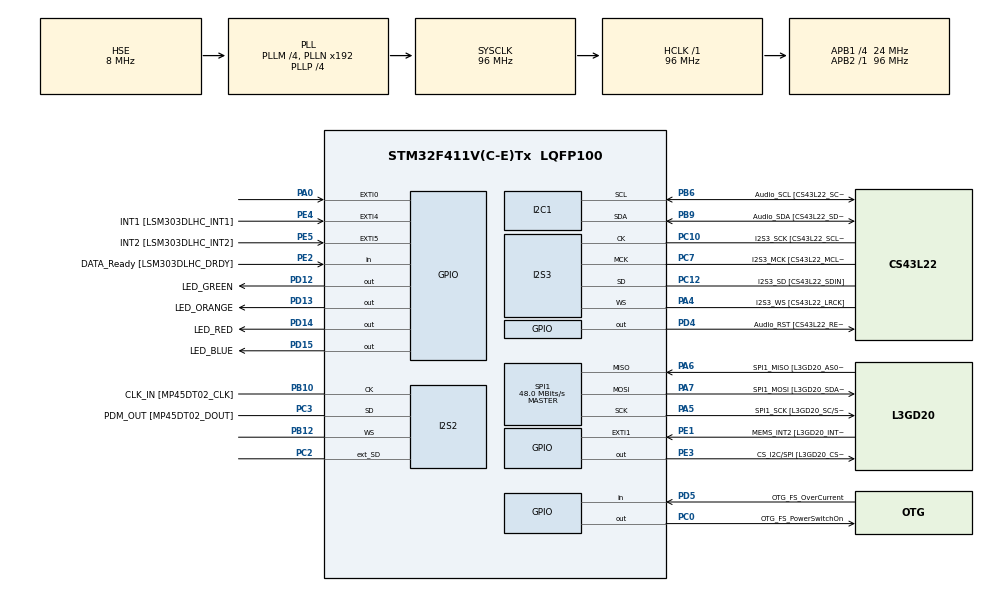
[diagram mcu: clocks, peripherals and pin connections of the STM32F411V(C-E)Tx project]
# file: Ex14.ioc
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FREERTOS.BinarySemaphores01=CriticalResourceSemaphore,Dynamic,NULL
FREERTOS.INCLUDE_vTaskDelayUntil=1
FREERTOS.Mutexes01=CriticalResourceMutex,Dynamic,NULL
FREERTOS.Tasks01=FlashGreenLed,0,128,StartFlashGreenLedTask,Default,NULL,Dynamic,NULL,NULL;FlashRedLed,0,128,StartFlashRedLedTask,Default,NULL,Dynamic,NULL,NULL;FlashBlueLed,0,128,StartFlashBlueLedTask,Default,NULL,Dynamic,NULL,NULL
FREERTOS.configUSE_NEWLIB_REENTRANT=1
I2S2.AudioFreq=I2S_AUDIOFREQ_96K
I2S2.ErrorAudioFreq=0.15 %
I2S2.FullDuplexMode=I2S_FULLDUPLEXMODE_ENABLE
I2S2.Instance=SPI$Index
I2S2.RealAudioFreq=96.153 KHz
I2S2.VirtualMode=I2S_MODE_MASTER
I2S3.AudioFreq=I2S_AUDIOFREQ_96K
I2S3.ErrorAudioFreq=-6.99 %
I2S3.FullDuplexMode=I2S_FULLDUPLEXMODE_DISABLE
I2S3.Instance=SPI$Index
I2S3.RealAudioFreq=89.285 KHz
I2S3.VirtualMode=I2S_MODE_MASTER
Mcu.Family=STM32F4
Mcu.Name=STM32F411V(C-E)Tx
Mcu.Package=LQFP100
NVIC.PriorityGroup=NVIC_PRIORITYGROUP_4
NVIC.TIM1_UP_TIM10_IRQn=true\:15\:0\:false\:false\:true\:false\:false\:true\:true
NVIC.TimeBase=TIM1_UP_TIM10_IRQn
NVIC.TimeBaseIP=TIM1
PA0-WKUP.GPIO_ModeDefaultEXTI=GPIO_MODE_EVT_RISING
PA0-WKUP.Signal=GPXTI0
PA10.GPIO_Label=OTG_FS_ID
PA10.Signal=USB_OTG_FS_ID
PA11.GPIO_Label=OTG_FS_DM
PA11.Signal=USB_OTG_FS_DM
PA12.GPIO_Label=OTG_FS_DP
PA12.Signal=USB_OTG_FS_DP
PA13.GPIO_Label=SWDIO
PA13.Mode=Serial_Wire
PA13.Signal=SYS_JTMS-SWDIO
PA14.GPIO_Label=SWCLK
PA14.Mode=Serial_Wire
PA14.Signal=SYS_JTCK-SWCLK
PA4.GPIO_Label=I2S3_WS [CS43L22_LRCK]
PA4.GPIO_Mode=GPIO_MODE_AF_PP
PA4.GPIO_PuPd=GPIO_NOPULL
PA4.GPIO_Speed=GPIO_SPEED_FREQ_LOW
PA4.Mode=Half_Duplex_Master
PA4.Signal=I2S3_WS
PA5.GPIO_Label=SPI1_SCK [L3GD20_SC/SPC]
PA5.Mode=Full_Duplex_Master
PA5.Signal=SPI1_SCK
PA6.GPIO_Label=SPI1_MISO [L3GD20_AS0/SDO]
PA6.Mode=Full_Duplex_Master
PA6.Signal=SPI1_MISO
PA7.GPIO_Label=SPI1_MOSI [L3GD20_SDA/SDI/SDO]
PA7.Mode=Full_Duplex_Master
PA7.Signal=SPI1_MOSI
PA9.GPIO_Label=VBUS_FS
PA9.Signal=USB_OTG_FS_VBUS
PB10.GPIO_Label=CLK_IN [MP45DT02_CLK]
PB10.Mode=Full_Duplex_Master
PB10.Signal=I2S2_CK
PB12.Mode=Full_Duplex_Master
PB12.Signal=I2S2_WS
PB3.GPIO_Label=SWO
PB3.Signal=SYS_JTDO-SWO
PB6.GPIO_Label=Audio_SCL [CS43L22_SCL]
PB6.GPIO_Mode=GPIO_MODE_AF_OD
PB6.GPIO_Pu=GPIO_PULLUP
PB6.GPIO_PuPd=GPIO_NOPULL
PB6.GPIO_Speed=GPIO_SPEED_FREQ_LOW
PB6.Mode=I2C
PB6.Signal=I2C1_SCL
PB9.GPIO_Label=Audio_SDA [CS43L22_SDA]
PB9.GPIO_Mode=GPIO_MODE_AF_OD
PB9.GPIO_Pu=GPIO_PULLUP
PB9.GPIO_PuPd=GPIO_NOPULL
PB9.GPIO_Speed=GPIO_SPEED_FREQ_LOW
PB9.Mode=I2C
PB9.Signal=I2C1_SDA
PC0.GPIO_Label=OTG_FS_PowerSwitchOn
PC0.PinState=GPIO_PIN_SET
PC0.Signal=GPIO_Output
PC10.GPIO_Label=I2S3_SCK [CS43L22_SCLK]
PC10.GPIO_Mode=GPIO_MODE_AF_PP
PC10.GPIO_PuPd=GPIO_NOPULL
PC10.GPIO_Speed=GPIO_SPEED_FREQ_LOW
PC10.Mode=Half_Duplex_Master
PC10.Signal=I2S3_CK
PC12.GPIO_Label=I2S3_SD [CS43L22_SDIN]
PC12.GPIO_Mode=GPIO_MODE_AF_PP
PC12.GPIO_PuPd=GPIO_NOPULL
PC12.GPIO_Speed=GPIO_SPEED_FREQ_LOW
PC12.Mode=Half_Duplex_Master
PC12.Signal=I2S3_SD
PC14-OSC32_IN.GPIO_Label=PC14-OSC32_IN
PC14-OSC32_IN.Mode=LSE-External-Oscillator
PC14-OSC32_IN.Signal=RCC_OSC32_IN
PC15-OSC32_OUT.GPIO_Label=PC15-OSC32_OUT
PC15-OSC32_OUT.Mode=LSE-External-Oscillator
PC15-OSC32_OUT.Signal=RCC_OSC32_OUT
PC2.Mode=Full_Duplex_Master
PC2.Signal=I2S2_ext_SD
PC3.GPIO_Label=PDM_OUT [MP45DT02_DOUT]
PC3.Mode=Full_Duplex_Master
PC3.Signal=I2S2_SD
PC7.GPIO_Label=I2S3_MCK [CS43L22_MCLK]
PC7.GPIO_Mode=GPIO_MODE_AF_PP
PC7.GPIO_PuPd=GPIO_NOPULL
PC7.GPIO_Speed=GPIO_SPEED_FREQ_LOW
PC7.Mode=Master_Clock_Activated
PC7.Signal=I2S3_MCK
PD12.GPIO_Label=LED_GREEN
PD12.GPIO_PuPd=GPIO_NOPULL
PD12.GPIO_Speed=GPIO_SPEED_FREQ_LOW
PD12.Signal=GPIO_Output
PD13.GPIO_Label=LED_ORANGE
PD13.GPIO_PuPd=GPIO_NOPULL
PD13.GPIO_Speed=GPIO_SPEED_FREQ_LOW
PD13.Signal=GPIO_Output
PD14.GPIO_Label=LED_RED
PD14.GPIO_PuPd=GPIO_NOPULL
PD14.GPIO_Speed=GPIO_SPEED_FREQ_LOW
PD14.Signal=GPIO_Output
PD15.GPIO_Label=LED_BLUE
PD15.GPIO_PuPd=GPIO_NOPULL
PD15.GPIO_Speed=GPIO_SPEED_FREQ_LOW
PD15.Signal=GPIO_Output
PD4.GPIO_Label=Audio_RST [CS43L22_RESET]
PD4.Signal=GPIO_Output
PD5.GPIO_Label=OTG_FS_OverCurrent
PD5.Signal=GPIO_Input
PE1.GPIO_Label=MEMS_INT2 [L3GD20_INT2]
PE1.GPIO_ModeDefaultEXTI=GPIO_MODE_EVT_RISING
PE1.Signal=GPXTI1
PE2.GPIO_Label=DATA_Ready [LSM303DLHC_DRDY]
PE2.Signal=GPIO_Input
PE3.GPIO_Label=CS_I2C/SPI [L3GD20_CS_I2C/SPI]
PE3.Signal=GPIO_Output
PE4.GPIO_Label=INT1 [LSM303DLHC_INT1]
PE4.GPIO_ModeDefaultEXTI=GPIO_MODE_EVT_RISING
PE4.Signal=GPXTI4
PE5.GPIO_Label=INT2 [LSM303DLHC_INT2]
PE5.GPIO_ModeDefaultEXTI=GPIO_MODE_EVT_RISING
PE5.Signal=GPXTI5
PH0\ -\ OSC_IN.GPIO_Label=PH0-OSC_IN
PH0\ -\ OSC_IN.Mode=HSE-External-Oscillator
PH0\ -\ OSC_IN.Signal=RCC_OSC_IN
PH1\ -\ OSC_OUT.GPIO_Label=PH1-OSC_OUT
PH1\ -\ OSC_OUT.Mode=HSE-External-Oscillator
PH1\ -\ OSC_OUT.Signal=RCC_OSC_OUT
ProjectManager.HeapSize=0x200
ProjectManager.StackSize=0x400
ProjectManager.TargetToolchain=STM32CubeIDE
RCC.48MHZClocksFreq_Value=48000000
RCC.AHBFreq_Value=96000000
RCC.APB1CLKDivider=RCC_HCLK_DIV4
RCC.APB1Freq_Value=24000000
RCC.APB1TimFreq_Value=48000000
RCC.APB2Freq_Value=96000000
RCC.APB2TimFreq_Value=96000000
RCC.CortexFreq_Value=96000000
RCC.HCLKFreq_Value=96000000
RCC.HSE_VALUE=8000000
RCC.HSI_VALUE=16000000
RCC.PLLI2SM=5
RCC.PLLI2SN=200
RCC.PLLM=4
RCC.PLLP=RCC_PLLP_DIV4
RCC.PLLQ=8
RCC.PLLSourceVirtual=RCC_PLLSOURCE_HSE
RCC.SYSCLKFreq_VALUE=96000000
RCC.SYSCLKSource=RCC_SYSCLKSOURCE_PLLCLK
RCC.VCOOutputFreq_Value=384000000
SPI1.BaudRatePrescaler=SPI_BAUDRATEPRESCALER_2
SPI1.CalculateBaudRate=48.0 MBits/s
SPI1.Direction=SPI_DIRECTION_2LINES
SPI1.Mode=SPI_MODE_MASTER
SPI1.VirtualType=VM_MASTER
VP_FREERTOS_VS_CMSIS_V1.Mode=CMSIS_V1
VP_SYS_VS_tim1.Mode=TIM1
board=STM32F411E-DISCO

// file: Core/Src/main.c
/* USER CODE BEGIN Header */
/**
  ******************************************************************************
  * @file           : main.c
  * @brief          : Main program body
  ******************************************************************************
  * @attention
  *
  * Copyright (c) 2024 STMicroelectronics.
  * All rights reserved.
  *
  * This software is licensed under terms that can be found in the LICENSE file
  * in the root directory of this software component.
  * If no LICENSE file comes with this software, it is provided AS-IS.
  *
  ******************************************************************************
  */
/* USER CODE END Header */
#include "main.h"
#include "cmsis_os.h"

I2C_HandleTypeDef hi2c1;

I2S_HandleTypeDef hi2s2;
I2S_HandleTypeDef hi2s3;

SPI_HandleTypeDef hspi1;

osThreadId FlashGreenLedHandle;
osThreadId FlashRedLedHandle;
osThreadId FlashBlueLedHandle;
osMutexId CriticalResourceMutexHandle;
osSemaphoreId CriticalResourceSemaphoreHandle;

void SystemClock_Config(void);
void PeriphCommonClock_Config(void);
static void MX_GPIO_Init(void);
static void MX_I2C1_Init(void);
static void MX_I2S2_Init(void);
static void MX_I2S3_Init(void);
static void MX_SPI1_Init(void);
void StartFlashGreenLedTask(void const * argument);
void StartFlashRedLedTask(void const * argument);
void StartFlashBlueLedTask(void const * argument);

int main(void)
{

  /* MCU Configuration--------------------------------------------------------*/

  /* Reset of all peripherals, Initializes the Flash interface and the Systick. */
  HAL_Init();

  /* Configure the system clock */
  SystemClock_Config();

/* Configure the peripherals common clocks */
  PeriphCommonClock_Config();

  /* Initialize all configured peripherals */
  MX_GPIO_Init();
  MX_I2C1_Init();
  MX_I2S2_Init();
  MX_I2S3_Init();
  MX_SPI1_Init();

  /* Create the mutex(es) */
  /* definition and creation of CriticalResourceMutex */
  osMutexDef(CriticalResourceMutex);
  CriticalResourceMutexHandle = osMutexCreate(osMutex(CriticalResourceMutex));

  /* Create the semaphores(s) */
  /* definition and creation of CriticalResourceSemaphore */
  osSemaphoreDef(CriticalResourceSemaphore);
  CriticalResourceSemaphoreHandle = osSemaphoreCreate(osSemaphore(CriticalResourceSemaphore), 1);

  /* Create the thread(s) */
  /* definition and creation of FlashGreenLed */
  osThreadDef(FlashGreenLed, StartFlashGreenLedTask, osPriorityNormal, 0, 128);
  FlashGreenLedHandle = osThreadCreate(osThread(FlashGreenLed), NULL);

  /* definition and creation of FlashRedLed */
  osThreadDef(FlashRedLed, StartFlashRedLedTask, osPriorityNormal, 0, 128);
  FlashRedLedHandle = osThreadCreate(osThread(FlashRedLed), NULL);

  /* definition and creation of FlashBlueLed */
  osThreadDef(FlashBlueLed, StartFlashBlueLedTask, osPriorityNormal, 0, 128);
  FlashBlueLedHandle = osThreadCreate(osThread(FlashBlueLed), NULL);

  /* Start scheduler */
  osKernelStart();

  /* We should never get here as control is now taken by the scheduler */
  /* Infinite loop */
  while (1)
  {

  }
}

void SystemClock_Config(void)
{
  RCC_OscInitTypeDef RCC_OscInitStruct = {0};
  RCC_ClkInitTypeDef RCC_ClkInitStruct = {0};

  /** Configure the main internal regulator output voltage
  */
  __HAL_RCC_PWR_CLK_ENABLE();
  __HAL_PWR_VOLTAGESCALING_CONFIG(PWR_REGULATOR_VOLTAGE_SCALE1);

  /** Initializes the RCC Oscillators according to the specified parameters
  * in the RCC_OscInitTypeDef structure.
  */
  RCC_OscInitStruct.OscillatorType = RCC_OSCILLATORTYPE_HSE;
  RCC_OscInitStruct.HSEState = RCC_HSE_ON;
  RCC_OscInitStruct.PLL.PLLState = RCC_PLL_ON;
  RCC_OscInitStruct.PLL.PLLSource = RCC_PLLSOURCE_HSE;
  RCC_OscInitStruct.PLL.PLLM = 4;
  RCC_OscInitStruct.PLL.PLLN = 192;
  RCC_OscInitStruct.PLL.PLLP = RCC_PLLP_DIV4;
  RCC_OscInitStruct.PLL.PLLQ = 8;
  if (HAL_RCC_OscConfig(&RCC_OscInitStruct) != HAL_OK)
  {
    Error_Handler();
  }

  /** Initializes the CPU, AHB and APB buses clocks
  */
  RCC_ClkInitStruct.ClockType = RCC_CLOCKTYPE_HCLK|RCC_CLOCKTYPE_SYSCLK
                              |RCC_CLOCKTYPE_PCLK1|RCC_CLOCKTYPE_PCLK2;
  RCC_ClkInitStruct.SYSCLKSource = RCC_SYSCLKSOURCE_PLLCLK;
  RCC_ClkInitStruct.AHBCLKDivider = RCC_SYSCLK_DIV1;
  RCC_ClkInitStruct.APB1CLKDivider = RCC_HCLK_DIV4;
  RCC_ClkInitStruct.APB2CLKDivider = RCC_HCLK_DIV1;

  if (HAL_RCC_ClockConfig(&RCC_ClkInitStruct, FLASH_LATENCY_3) != HAL_OK)
  {
    Error_Handler();
  }
}

void PeriphCommonClock_Config(void)
{
  RCC_PeriphCLKInitTypeDef PeriphClkInitStruct = {0};

  /** Initializes the peripherals clock
  */
  PeriphClkInitStruct.PeriphClockSelection = RCC_PERIPHCLK_I2S;
  PeriphClkInitStruct.PLLI2S.PLLI2SN = 200;
  PeriphClkInitStruct.PLLI2S.PLLI2SM = 5;
  PeriphClkInitStruct.PLLI2S.PLLI2SR = 2;
  if (HAL_RCCEx_PeriphCLKConfig(&PeriphClkInitStruct) != HAL_OK)
  {
    Error_Handler();
  }
}

static void MX_I2C1_Init(void)
{

  hi2c1.Instance = I2C1;
  hi2c1.Init.ClockSpeed = 100000;
  hi2c1.Init.DutyCycle = I2C_DUTYCYCLE_2;
  hi2c1.Init.OwnAddress1 = 0;
  hi2c1.Init.AddressingMode = I2C_ADDRESSINGMODE_7BIT;
  hi2c1.Init.DualAddressMode = I2C_DUALADDRESS_DISABLE;
  hi2c1.Init.OwnAddress2 = 0;
  hi2c1.Init.GeneralCallMode = I2C_GENERALCALL_DISABLE;
  hi2c1.Init.NoStretchMode = I2C_NOSTRETCH_DISABLE;
  if (HAL_I2C_Init(&hi2c1) != HAL_OK)
  {
    Error_Handler();
  }

}

static void MX_I2S2_Init(void)
{

  hi2s2.Instance = SPI2;
  hi2s2.Init.Mode = I2S_MODE_MASTER_TX;
  hi2s2.Init.Standard = I2S_STANDARD_PHILIPS;
  hi2s2.Init.DataFormat = I2S_DATAFORMAT_16B;
  hi2s2.Init.MCLKOutput = I2S_MCLKOUTPUT_DISABLE;
  hi2s2.Init.AudioFreq = I2S_AUDIOFREQ_96K;
  hi2s2.Init.CPOL = I2S_CPOL_LOW;
  hi2s2.Init.ClockSource = I2S_CLOCK_PLL;
  hi2s2.Init.FullDuplexMode = I2S_FULLDUPLEXMODE_ENABLE;
  if (HAL_I2S_Init(&hi2s2) != HAL_OK)
  {
    Error_Handler();
  }

}

static void MX_I2S3_Init(void)
{

  hi2s3.Instance = SPI3;
  hi2s3.Init.Mode = I2S_MODE_MASTER_TX;
  hi2s3.Init.Standard = I2S_STANDARD_PHILIPS;
  hi2s3.Init.DataFormat = I2S_DATAFORMAT_16B;
  hi2s3.Init.MCLKOutput = I2S_MCLKOUTPUT_ENABLE;
  hi2s3.Init.AudioFreq = I2S_AUDIOFREQ_96K;
  hi2s3.Init.CPOL = I2S_CPOL_LOW;
  hi2s3.Init.ClockSource = I2S_CLOCK_PLL;
  hi2s3.Init.FullDuplexMode = I2S_FULLDUPLEXMODE_DISABLE;
  if (HAL_I2S_Init(&hi2s3) != HAL_OK)
  {
    Error_Handler();
  }

}

static void MX_SPI1_Init(void)
{

  /* SPI1 parameter configuration*/
  hspi1.Instance = SPI1;
  hspi1.Init.Mode = SPI_MODE_MASTER;
  hspi1.Init.Direction = SPI_DIRECTION_2LINES;
  hspi1.Init.DataSize = SPI_DATASIZE_8BIT;
  hspi1.Init.CLKPolarity = SPI_POLARITY_LOW;
  hspi1.Init.CLKPhase = SPI_PHASE_1EDGE;
  hspi1.Init.NSS = SPI_NSS_SOFT;
  hspi1.Init.BaudRatePrescaler = SPI_BAUDRATEPRESCALER_2;
  hspi1.Init.FirstBit = SPI_FIRSTBIT_MSB;
  hspi1.Init.TIMode = SPI_TIMODE_DISABLE;
  hspi1.Init.CRCCalculation = SPI_CRCCALCULATION_DISABLE;
  hspi1.Init.CRCPolynomial = 10;
  if (HAL_SPI_Init(&hspi1) != HAL_OK)
  {
    Error_Handler();
  }

}

static void MX_GPIO_Init(void)
{
  GPIO_InitTypeDef GPIO_InitStruct = {0};

  /* GPIO Ports Clock Enable */
  __HAL_RCC_GPIOE_CLK_ENABLE();
  __HAL_RCC_GPIOC_CLK_ENABLE();
  __HAL_RCC_GPIOH_CLK_ENABLE();
  __HAL_RCC_GPIOA_CLK_ENABLE();
  __HAL_RCC_GPIOB_CLK_ENABLE();
  __HAL_RCC_GPIOD_CLK_ENABLE();

  /*Configure GPIO pin Output Level */
  HAL_GPIO_WritePin(CS_I2C_SPI_GPIO_Port, CS_I2C_SPI_Pin, GPIO_PIN_RESET);

  /*Configure GPIO pin Output Level */
  HAL_GPIO_WritePin(OTG_FS_PowerSwitchOn_GPIO_Port, OTG_FS_PowerSwitchOn_Pin, GPIO_PIN_SET);

  /*Configure GPIO pin Output Level */
  HAL_GPIO_WritePin(GPIOD, LED_GREEN_Pin|LED_ORANGE_Pin|LED_RED_Pin|LED_BLUE_Pin
                          |Audio_RST_Pin, GPIO_PIN_RESET);

  /*Configure GPIO pin : DATA_Ready_Pin */
  GPIO_InitStruct.Pin = DATA_Ready_Pin;
  GPIO_InitStruct.Mode = GPIO_MODE_INPUT;
  GPIO_InitStruct.Pull = GPIO_NOPULL;
  HAL_GPIO_Init(DATA_Ready_GPIO_Port, &GPIO_InitStruct);

  /*Configure GPIO pin : CS_I2C_SPI_Pin */
  GPIO_InitStruct.Pin = CS_I2C_SPI_Pin;
  GPIO_InitStruct.Mode = GPIO_MODE_OUTPUT_PP;
  GPIO_InitStruct.Pull = GPIO_NOPULL;
  GPIO_InitStruct.Speed = GPIO_SPEED_FREQ_LOW;
  HAL_GPIO_Init(CS_I2C_SPI_GPIO_Port, &GPIO_InitStruct);

  /*Configure GPIO pins : INT1_Pin INT2_Pin MEMS_INT2_Pin */
  GPIO_InitStruct.Pin = INT1_Pin|INT2_Pin|MEMS_INT2_Pin;
  GPIO_InitStruct.Mode = GPIO_MODE_EVT_RISING;
  GPIO_InitStruct.Pull = GPIO_NOPULL;
  HAL_GPIO_Init(GPIOE, &GPIO_InitStruct);

  /*Configure GPIO pin : OTG_FS_PowerSwitchOn_Pin */
  GPIO_InitStruct.Pin = OTG_FS_PowerSwitchOn_Pin;
  GPIO_InitStruct.Mode = GPIO_MODE_OUTPUT_PP;
  GPIO_InitStruct.Pull = GPIO_NOPULL;
  GPIO_InitStruct.Speed = GPIO_SPEED_FREQ_LOW;
  HAL_GPIO_Init(OTG_FS_PowerSwitchOn_GPIO_Port, &GPIO_InitStruct);

  /*Configure GPIO pin : PA0 */
  GPIO_InitStruct.Pin = GPIO_PIN_0;
  GPIO_InitStruct.Mode = GPIO_MODE_EVT_RISING;
  GPIO_InitStruct.Pull = GPIO_NOPULL;
  HAL_GPIO_Init(GPIOA, &GPIO_InitStruct);

  /*Configure GPIO pins : LED_GREEN_Pin LED_ORANGE_Pin LED_RED_Pin LED_BLUE_Pin
                           Audio_RST_Pin */
  GPIO_InitStruct.Pin = LED_GREEN_Pin|LED_ORANGE_Pin|LED_RED_Pin|LED_BLUE_Pin
                          |Audio_RST_Pin;
  GPIO_InitStruct.Mode = GPIO_MODE_OUTPUT_PP;
  GPIO_InitStruct.Pull = GPIO_NOPULL;
  GPIO_InitStruct.Speed = GPIO_SPEED_FREQ_LOW;
  HAL_GPIO_Init(GPIOD, &GPIO_InitStruct);

  /*Configure GPIO pin : VBUS_FS_Pin */
  GPIO_InitStruct.Pin = VBUS_FS_Pin;
  GPIO_InitStruct.Mode = GPIO_MODE_INPUT;
  GPIO_InitStruct.Pull = GPIO_NOPULL;
  HAL_GPIO_Init(VBUS_FS_GPIO_Port, &GPIO_InitStruct);

  /*Configure GPIO pins : OTG_FS_ID_Pin OTG_FS_DM_Pin OTG_FS_DP_Pin */
  GPIO_InitStruct.Pin = OTG_FS_ID_Pin|OTG_FS_DM_Pin|OTG_FS_DP_Pin;
  GPIO_InitStruct.Mode = GPIO_MODE_AF_PP;
  GPIO_InitStruct.Pull = GPIO_NOPULL;
  GPIO_InitStruct.Speed = GPIO_SPEED_FREQ_VERY_HIGH;
  GPIO_InitStruct.Alternate = GPIO_AF10_OTG_FS;
  HAL_GPIO_Init(GPIOA, &GPIO_InitStruct);

  /*Configure GPIO pin : OTG_FS_OverCurrent_Pin */
  GPIO_InitStruct.Pin = OTG_FS_OverCurrent_Pin;
  GPIO_InitStruct.Mode = GPIO_MODE_INPUT;
  GPIO_InitStruct.Pull = GPIO_NOPULL;
  HAL_GPIO_Init(OTG_FS_OverCurrent_GPIO_Port, &GPIO_InitStruct);

}

/* USER CODE BEGIN 4 */
osEvent evt;
/* USER CODE END 4 */

void StartFlashGreenLedTask(void const * argument)
{
  /* USER CODE BEGIN 5 */
  /* Infinite loop */
  for(;;)
  {
	  evt = osSignalWait(0x01, 0);
    if( evt.status == osEventSignal){
    	for(int i=0;i<=50;i++){// 50 * 100 mSec = 5 sec
    		HAL_GPIO_WritePin(GPIOD, LED_GREEN_Pin, GPIO_PIN_SET);
    		osDelay(50);
    		HAL_GPIO_WritePin(GPIOD, LED_GREEN_Pin, GPIO_PIN_RESET);
    		osDelay(50);
    	}
    }
  }
  /* USER CODE END 5 */
}

void StartFlashRedLedTask(void const * argument)
{
  /* USER CODE BEGIN StartFlashRedLedTask */
  /* Infinite loop */
  for(;;)
  {
	  evt = osSignalWait(0x01, 0);
	  if( evt.status == osEventSignal){
		  for(int i=0;i<50;i++){// 50 * 100 mSec = 5 sec
			  HAL_GPIO_WritePin(GPIOD, LED_RED_Pin, GPIO_PIN_SET);
			  osDelay(50);
			  HAL_GPIO_WritePin(GPIOD, LED_RED_Pin, GPIO_PIN_RESET);
			  osDelay(50);
	      	}
	  }
  }
  /* USER CODE END StartFlashRedLedTask */
}

void StartFlashBlueLedTask(void const * argument)
{
  /* USER CODE BEGIN StartFlashBlueLedTask */
  /* Infinite loop */
  for(;;)
  {
	  for(int i=0;i<10;i++){//10 * 100msec = 1 second
		  HAL_GPIO_WritePin(GPIOD, LED_BLUE_Pin, GPIO_PIN_SET);
		  osDelay(500);
		  HAL_GPIO_WritePin(GPIOD, LED_BLUE_Pin, GPIO_PIN_RESET);
		  osDelay(500);
	  }

	  osSignalSet(FlashGreenLedHandle, 1);
	  osDelay(6000);
	  osSignalSet(FlashRedLedHandle, 1);
  }
  /* USER CODE END StartFlashBlueLedTask */
}

void HAL_TIM_PeriodElapsedCallback(TIM_HandleTypeDef *htim)
{
  if (htim->Instance == TIM1) {
    HAL_IncTick();
  }
}

void Error_Handler(void)
{
  __disable_irq();
  while (1)
  {
  }
}
